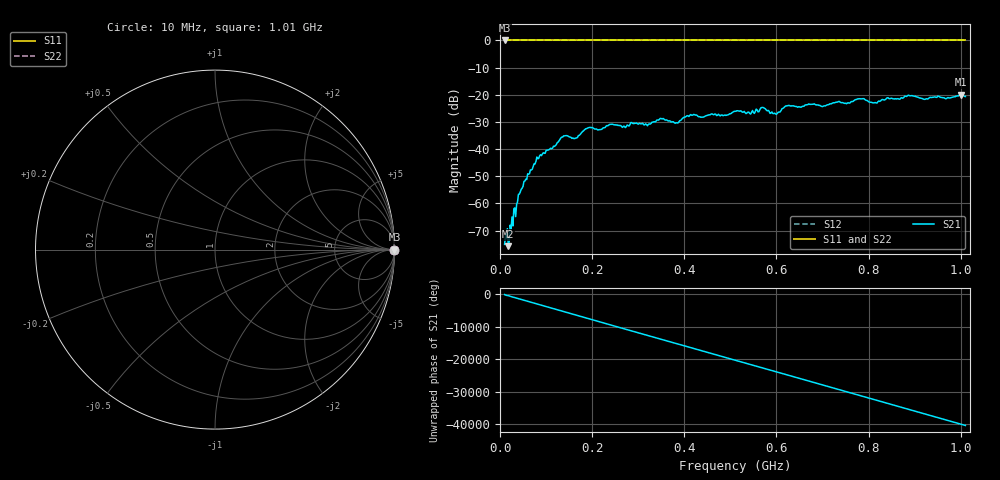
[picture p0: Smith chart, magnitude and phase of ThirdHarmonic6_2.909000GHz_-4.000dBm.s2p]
! 8/17/2025 8:03:37 AM
! C:\ANRITSUVNA\TEMP\TEMP.S2P
! CHANNEL.1
! TR.MEASUREMENT
! RAW.DATA
! RF.CORRECTION.OFF
! AVERAGING.OFF
! IF.BANDWIDTH: 5KHZ
! SWEEPTYPE:  FREQ.SWEEP(Linear)
! Reference Plane Port Info
! PORT:  PORT1  PORT2
! DISTANCE:  0  m  0  m
! TIME:  0  s  0  s
! PHASE.OFFSET:  0  deg.  0  deg.
! LOSS:  0  dB  0  dB
! REF.LOSS:  0  dB  0  dB
! REF.FREQ:  0  Hz  0  Hz
! Power Info
! POWER:  -20  dBm  -20  dBm
! EFF.POWER:  -20  dBm  -20  dBm
! SOURCE.ATTEN:  0  dB  0  dB
! TEST.ATTEN:  0  dB  0  dB
# GHZ S RI R 50.0
! FREQ.GHZ  S11RE  S11IM  S21RE  S21IM  S12RE  S12IM  S22RE  S22IM
!; PortSelection: Port_12
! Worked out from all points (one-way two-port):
!   501 points, 10 MHz to 1.01 GHz, reference 50 ohm
!   highest |S21| = -19.96 dB at 1 GHz (marker M1); lowest = -75.7 dB at 18 MHz (marker M2)
!   lowest |S11| = 0.0 dB at 10 MHz (marker M3)
!   |S11| at or under -10 dB: nowhere
!   |S22| runs from 0.0 to 0.0 dB; largest |S21 - S12| = 1.1
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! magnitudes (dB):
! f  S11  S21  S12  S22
! 10 MHz  0.0  -75.1  0.0  0.0
! 18 MHz  0.0  -75.7  0.0  0.0
! 44 MHz  0.0  -55.8  0.0  0.0
! 84 MHz  0.0  -43.4  0.0  0.0
! 136 MHz  0.0  -35.6  0.0  0.0
! 164 MHz  0.0  -36.0  0.0  0.0
! 178 MHz  0.0  -33.7  0.0  0.0
! 194 MHz  0.0  -32.0  0.0  0.0
! 344 MHz  0.0  -29.3  0.0  0.0
! 382 MHz  0.0  -30.3  0.0  0.0
! 416 MHz  0.0  -27.5  0.0  0.0
! 510 MHz  0.0  -26.1  0.0  0.0
! 548 MHz  0.0  -25.8  0.0  0.0
! 570 MHz  0.0  -24.6  0.0  0.0
! 598 MHz  0.0  -27.0  0.0  0.0
! 624 MHz  0.0  -24.0  0.0  0.0
! 678 MHz  0.0  -23.5  0.0  0.0
! 784 MHz  0.0  -21.5  0.0  0.0
! 814 MHz  0.0  -22.8  0.0  0.0
! 844 MHz  0.0  -21.4  0.0  0.0
! 1 GHz  0.0  -20.0  0.0  0.0
! 1.01 GHz  0.0  -20.6  0.0  0.0
